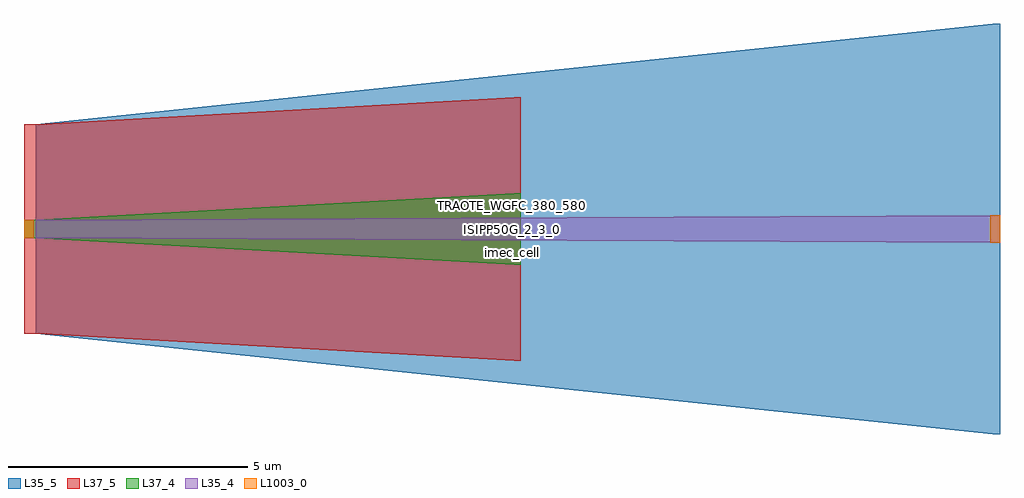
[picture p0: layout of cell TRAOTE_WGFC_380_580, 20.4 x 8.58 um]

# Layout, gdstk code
import gdstk
lib = gdstk.Library(unit=1e-6, precision=1e-09)
def R(c, l, rs):  # rectangles x0, y0, x1, y1
    for r in rs: c.add(gdstk.rectangle(r[:2], r[2:], *l))
def P(c, l, *ps):  # polygons
    for p in ps: c.add(gdstk.Polygon(p, *l))
L35_4 = (35, 4)
L35_5 = (35, 5)
L37_4 = (37, 4)
L37_5 = (37, 5)
L1003_0 = (1003, 0)

traote_wgfc_380_580_1 = lib.new_cell('TRAOTE_WGFC_380_580_1')
R(traote_wgfc_380_580_1, L37_4, [(0,-0.19,0.1,0.19)])
R(traote_wgfc_380_580_1, L37_5, [(0,-2.19,0.1,2.19)])

traote_wgfc_380_580 = lib.new_cell('TRAOTE_WGFC_380_580')
R(traote_wgfc_380_580, L35_4, [(20.1,-0.29,20.25,0.29)])
P(traote_wgfc_380_580, L35_4, [(20.1,-0.29),(0.1,-0.19),(0.1,0.19),(20.1,0.29)])
R(traote_wgfc_380_580, L35_5, [(20.1,-4.29,20.25,4.29)])
P(traote_wgfc_380_580, L35_5, [(20.1,-4.29),(0.1,-2.19),(0.1,2.19),(20.1,4.29)])
R(traote_wgfc_380_580, L37_4, [(-0.15,-0.19,0,0.19)])
P(traote_wgfc_380_580, L37_4, [(10.1,-0.75),(0.1,-0.19),(0.1,0.19),(10.1,0.75),(10.23,0.75),(10.23,-0.75)])
R(traote_wgfc_380_580, L37_5, [(-0.15,-2.19,0,2.19)])
P(traote_wgfc_380_580, L37_5, [(10.1,-2.75),(0.1,-2.19),(0.1,2.19),(10.1,2.75),(10.23,2.75),(10.23,-2.75)])
R(traote_wgfc_380_580, L1003_0, [(20.05,-0.29,20.1,0.29), (20.1,-0.29,20.25,0.29), (-0.15,-0.19,0,0.19), (0,-0.19,0.05,0.19)])
traote_wgfc_380_580.add(gdstk.Reference(traote_wgfc_380_580_1, (0,0)))
traote_wgfc_380_580.add(gdstk.Label('TRAOTE_WGFC_380_580', (10.05,0.5), layer=1002, texttype=0))
traote_wgfc_380_580.add(gdstk.Label('ISIPP50G_2_3_0', (10.05,0), layer=1002, texttype=0))
traote_wgfc_380_580.add(gdstk.Label('imec_cell', (10.05,-0.5), layer=1002, texttype=0))

lib.write_gds('TRAOTE_WGFC_380_580.gds')
